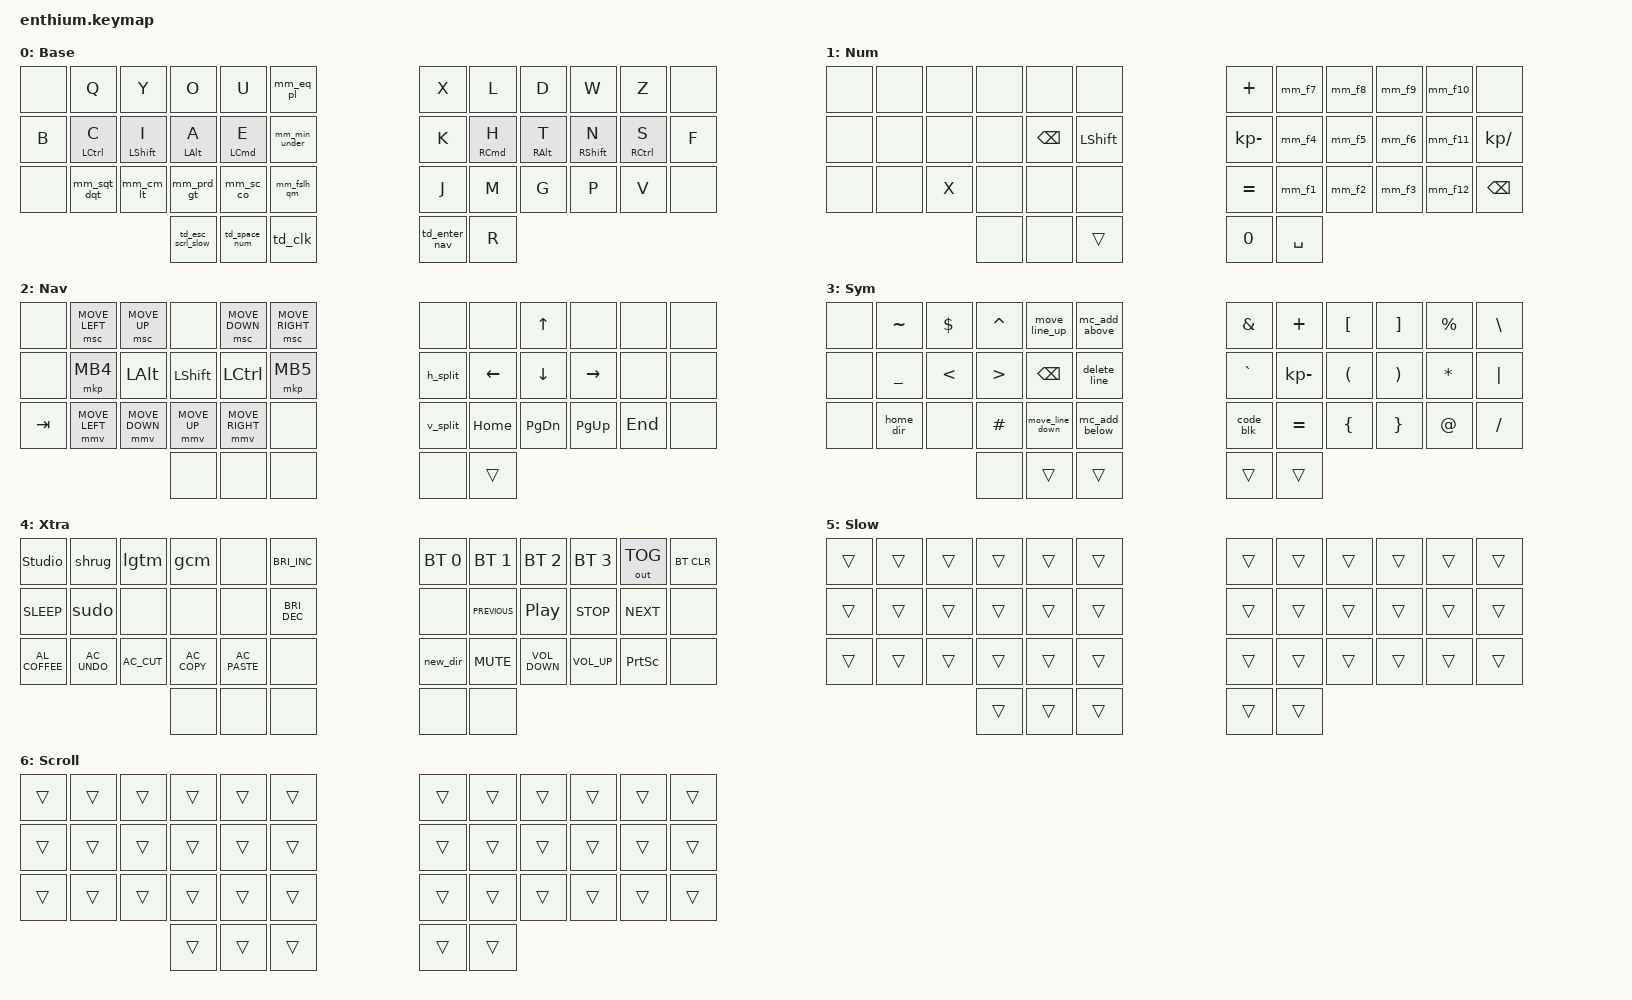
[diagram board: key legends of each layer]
/* upstream bindings and behaviors */
#include <behaviors.dtsi>
#include <dt-bindings/zmk/bt.h>
#include <dt-bindings/zmk/keys.h>
#include <dt-bindings/zmk/mouse.h>
#include <dt-bindings/zmk/outputs.h>
#include <behaviors/mouse_keys.dtsi>
#include <dt-bindings/zmk/ext_power.h>

/* local overlays */
#include "macros.dtsi"
#include "behaviors.dtsi"
#include "combos.dtsi"

/ {
/* --- KEYMAP CONFIG --- */
// ╭──────┬──────┬──────┬──────┬──────┬──────╮  ╭──────┬──────┬──────┬──────┬──────┬──────╮
//    00     01     02     03    04      05        06     07     08     09     10     11
// ├──────┼──────┼──────┼──────┼──────┼──────┤  ├──────┼──────┼──────┼──────┼──────┼──────┤
//    12     13     14     15    16      17        18     19     20     21     22     23
// ├──────┼──────┼──────┼──────┼──────┼──────┤  ├──────┼──────┼──────┼──────┼──────┼──────┤
//    24     25     26     27    28      29        30     31     32     33     34     35
// ╰──────┴──────┴──────┼──────┼──────┼──────┤  ├──────┼──────┼──────┴──────┴──────┴──────╯
//                         36     37     38        39     40
//                      ╰──────┴──────┴──────╯  ╰──────┴──────╯
#define L_BASE    0
#define L_NUM     1
#define L_NAV     2
#define L_SYM     3
#define L_EXTRAS  4
#define L_SLOW    5
#define L_SCROLL  6

    keymap {
        compatible = "zmk,keymap";

// TODO: optimize pinkies
        BASE {
            display-name = "Base";
            bindings = <
// ╭───────────────┬────────────────┬────────────────┬─────────────────┬─────────────────┬─────────────────╮  ╭─────────────────┬──────────────────┬──────────────────┬─────────────────┬────────────────────────┬────────────────╮
        &none            &kp Q            &kp Y            &kp O             &kp U          &mm_eq_pl               &kp X               &kp L              &kp D              &kp W             &kp Z               &none
// ├───────────────┼────────────────┼────────────────┼─────────────────┼─────────────────┼─────────────────┤  ├─────────────────┼──────────────────┼──────────────────┼─────────────────┼────────────────────────┼────────────────┤
        &kp B       &ht_left LCTRL C  &ht_left LSHFT I  &ht_left LALT A  &ht_left LCMD E    &mm_min_under           &kp K         &ht_right RCMD H  &ht_right RALT T   &ht_right RSHFT N    &ht_right RCTRL S       &kp F
// ├───────────────┼────────────────┼────────────────┼─────────────────┼─────────────────┼─────────────────┤  ├─────────────────┼──────────────────┼──────────────────┼─────────────────┼────────────────────────┼────────────────┤
        &none         &mm_sqt_dqt     &mm_cm_lt       &mm_prd_gt          &mm_sc_co       &mm_fslh_qm             &kp J               &kp M              &kp G              &kp P             &kp V               &none
// ╰───────────────┴────────────────┴────────────────┼─────────────────┼─────────────────┼─────────────────┤  ├─────────────────┼──────────────────┼──────────────────┴─────────────────┴────────────────────────┴────────────────╯
                                                      &td_esc_scrl_slow   &td_space_num     &td_clk              &td_enter_nav           &kp R
                                                  // ╰─────────────────┴─────────────────┴─────────────────╯  ╰─────────────────┴──────────────────╯
            >;
        };

// TODO: optimize layer
        NUM {
            display-name = "Num";
            bindings = <
&none   &none   &none   &none  &none            &none                   &kp PLUS        &mm_f7      &mm_f8  &mm_f9  &mm_f10     &none
&none   &none   &none   &none  &kp BACKSPACE    &kp LSHIFT              &kp KP_MINUS    &mm_f4      &mm_f5  &mm_f6  &mm_f11     &kp KP_SLASH
&none   &none   &kp X   &none  &none            &none                   &kp EQUAL       &mm_f1      &mm_f2  &mm_f3  &mm_f12     &kp BACKSPACE
                        &none  &none            &trans                  &kp N0          &kp SPACE
            >;
        };

// TODO: add mouse buttons that can be used with mac mouse fix somewhere
// TODO: optimize layer
        NAV {
            display-name = "Nav";
            bindings = <
&none       &msc MOVE_LEFT  &msc MOVE_UP    &none        &msc MOVE_DOWN  &msc MOVE_RIGHT     &none          &none               &kp UP      &none               &none       &none
&none       &mkp MB4        &kp LALT        &kp LSHFT    &kp LCTRL       &mkp MB5            &h_split       &kp LEFT_ARROW      &kp DOWN    &kp RIGHT_ARROW     &none       &none
&kp TAB     &mmv MOVE_LEFT  &mmv MOVE_DOWN  &mmv MOVE_UP &mmv MOVE_RIGHT &none               &v_split       &kp HOME            &kp PG_DN   &kp PG_UP           &kp END     &none
                                                      &none   &none   &none               &none   &trans
            >;
        };

// TODO: optimize layer
        SYM {
            display-name = "Sym";
            bindings = <
&none  &kp TILDE  &kp DLLR  &kp CARET  &move_line_up    &mc_add_above      &kp AMPS   &kp PLUS     &kp LBKT  &kp RBKT  &kp PRCNT  &kp BSLH
&none  &kp UNDER  &kp LT    &kp GT     &kp BACKSPACE    &delete_line       &kp GRAVE  &kp KP_MINUS &kp LPAR  &kp RPAR  &kp ASTRK  &kp PIPE
&none  &home_dir  &none     &kp HASH   &move_line_down  &mc_add_below      &code_blk  &kp EQUAL    &kp LBRC  &kp RBRC  &kp AT     &kp FSLH
                                       &none  &trans     &trans            &trans   &trans
            >;
        };

// TODO: cleanup and optimize extras
        EXTRAS {
            display-name = "Xtra";
            bindings = <
&studio_unlock    &shrug          &lgtm           &gcm            &none           &kp C_BRIGHTNESS_INC    &bt BT_SEL 0  &bt BT_SEL 1    &bt BT_SEL 2       &bt BT_SEL 3  &out OUT_TOG         &bt BT_CLR
&kp C_SLEEP       &sudo           &none           &none           &none           &kp C_BRIGHTNESS_DEC    &none         &kp C_PREVIOUS  &kp C_PLAY_PAUSE   &kp C_STOP    &kp C_NEXT           &none
&kp C_AL_COFFEE   &kp C_AC_UNDO   &kp C_AC_CUT    &kp C_AC_COPY   &kp C_AC_PASTE  &none                   &new_dir      &kp K_MUTE      &kp C_VOLUME_DOWN  &kp C_VOLUME_UP   &kp PRINTSCREEN  &none
                                                                                   &none  &none  &none    &none         &none
            >;
        };

        SLOW {
            display-name = "Slow";
            bindings = <
&trans    &trans    &trans    &trans    &trans    &trans    &trans    &trans    &trans    &trans    &trans    &trans
&trans    &trans    &trans    &trans    &trans    &trans    &trans    &trans    &trans    &trans    &trans    &trans
&trans    &trans    &trans    &trans    &trans    &trans    &trans    &trans    &trans    &trans    &trans    &trans
                              &trans    &trans    &trans    &trans    &trans
            >;
        };

        SCROLL {
            display-name = "Scroll";
            bindings = <
&trans    &trans    &trans    &trans    &trans    &trans    &trans    &trans    &trans    &trans    &trans    &trans
&trans    &trans    &trans    &trans    &trans    &trans    &trans    &trans    &trans    &trans    &trans    &trans
&trans    &trans    &trans    &trans    &trans    &trans    &trans    &trans    &trans    &trans    &trans    &trans
                              &trans    &trans    &trans    &trans    &trans
            >;
        };
    };
};
